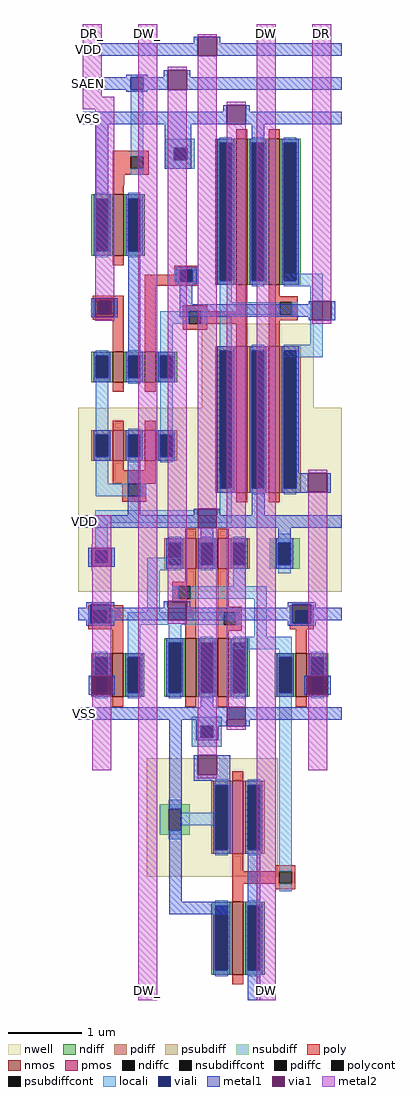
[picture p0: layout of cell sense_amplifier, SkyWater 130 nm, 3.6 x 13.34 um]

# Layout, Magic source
magic
tech sky130A
magscale 1 2
<< nwell >>
rect 306 -338 339 -130
rect 0 -425 339 -338
rect 643 -425 720 -130
rect 187 -1412 327 -1088
<< psubdiff >>
rect 237 580 319 604
rect 237 546 262 580
rect 296 546 319 580
rect 237 522 319 546
<< nsubdiff >>
rect 223 -1226 305 -1214
rect 223 -1286 247 -1226
rect 281 -1286 305 -1226
rect 223 -1298 305 -1286
<< psubdiffcont >>
rect 262 546 296 580
<< nsubdiffcont >>
rect 247 -1286 281 -1226
<< poly >>
rect 94 556 193 572
rect 94 522 143 556
rect 177 522 193 556
rect 94 506 193 522
rect 94 479 125 506
rect 262 247 328 258
rect 262 233 278 247
rect 182 213 278 233
rect 312 213 328 247
rect 182 203 328 213
rect 39 160 124 176
rect 39 126 55 160
rect 89 126 124 160
rect 39 110 124 126
rect 94 49 124 110
rect 182 49 212 203
rect 286 133 352 149
rect 432 133 462 179
rect 286 99 302 133
rect 336 99 462 133
rect 286 83 352 99
rect 432 63 462 99
rect 520 174 550 179
rect 520 158 600 174
rect 520 124 550 158
rect 584 124 600 158
rect 520 109 600 124
rect 520 63 550 109
rect 94 -338 212 -302
rect 120 -372 136 -338
rect 170 -372 186 -338
rect 120 -388 186 -372
rect 421 -1397 451 -1376
rect 538 -1397 593 -1381
rect 421 -1431 549 -1397
rect 583 -1431 593 -1397
rect 421 -1454 451 -1431
rect 538 -1447 593 -1431
<< polycont >>
rect 143 522 177 556
rect 278 213 312 247
rect 55 126 89 160
rect 302 99 336 133
rect 550 124 584 158
rect 136 -372 170 -338
rect 549 -1431 583 -1397
<< locali >>
rect 143 556 177 739
rect 237 580 319 604
rect 237 546 262 580
rect 296 546 319 580
rect 237 522 319 546
rect 143 506 177 522
rect 262 213 278 247
rect 312 213 328 247
rect 562 201 668 235
rect 39 126 55 160
rect 89 126 105 160
rect 386 158 420 201
rect 224 99 302 133
rect 336 99 352 133
rect 386 124 550 158
rect 584 124 600 158
rect 224 27 258 99
rect 386 41 420 124
rect 634 42 668 201
rect 562 8 668 42
rect 48 -188 82 -65
rect 224 -188 258 -65
rect 48 -338 82 -280
rect 48 -372 136 -338
rect 170 -372 186 -338
rect 386 -411 420 -367
rect 46 -445 420 -411
rect 46 -522 80 -445
rect 247 -1226 281 -1202
rect 281 -1272 375 -1238
rect 247 -1310 281 -1286
rect 549 -1397 583 -925
rect 549 -1452 583 -1431
<< viali >>
rect 143 739 177 773
rect 262 546 296 580
rect 278 213 312 247
rect 55 126 89 160
rect 46 -556 80 -522
<< metal1 >>
rect 316 865 326 883
rect 12 831 326 865
rect 378 865 388 883
rect 378 831 720 865
rect 131 773 189 779
rect 234 773 244 791
rect 12 739 143 773
rect 177 739 244 773
rect 296 773 306 791
rect 296 739 720 773
rect 131 733 189 739
rect 396 678 406 696
rect 12 644 406 678
rect 458 678 468 696
rect 458 644 720 678
rect 48 453 82 644
rect 237 580 309 644
rect 474 605 508 644
rect 237 546 262 580
rect 296 546 309 580
rect 237 522 309 546
rect 36 117 46 169
rect 98 117 108 169
rect 136 23 170 285
rect 266 247 324 253
rect 266 213 278 247
rect 312 213 324 247
rect 266 207 324 213
rect 278 152 312 207
rect 630 152 640 161
rect 278 118 640 152
rect 630 109 640 118
rect 692 109 702 161
rect 135 -459 170 -276
rect 380 -363 390 -310
rect 602 -362 628 -310
rect 680 -362 690 -310
rect 602 -363 690 -362
rect 316 -459 326 -407
rect 378 -459 388 -407
rect 474 -459 509 -363
rect 27 -565 37 -513
rect 90 -565 100 -513
rect 234 -711 244 -659
rect 296 -711 306 -659
rect 396 -983 406 -949
rect 249 -1480 283 -983
rect 382 -1001 406 -983
rect 458 -1001 468 -949
rect 316 -1133 326 -1080
rect 378 -1133 415 -1080
rect 316 -1150 415 -1133
rect 463 -1480 497 -1338
rect 249 -1514 409 -1480
rect 463 -1749 497 -1680
<< via1 >>
rect 326 831 378 883
rect 244 739 296 791
rect 406 644 458 696
rect 46 160 98 169
rect 46 126 55 160
rect 55 126 89 160
rect 89 126 98 160
rect 46 117 98 126
rect 640 109 692 161
rect 628 -362 680 -310
rect 326 -459 378 -407
rect 37 -522 90 -513
rect 37 -556 46 -522
rect 46 -556 80 -522
rect 80 -556 90 -522
rect 37 -565 90 -556
rect 244 -711 296 -659
rect 406 -1001 458 -949
rect 326 -1133 378 -1080
<< metal2 >>
rect 12 719 64 917
rect 12 685 98 719
rect 46 169 98 685
rect 46 107 98 117
rect 37 -513 90 -503
rect 37 -575 90 -565
rect 164 -1749 216 917
rect 326 883 378 890
rect 244 791 296 801
rect 244 -659 296 739
rect 244 -721 296 -711
rect 326 -407 378 831
rect 326 -1080 378 -459
rect 406 696 458 706
rect 406 -949 458 644
rect 406 -1011 458 -1001
rect 326 -1143 378 -1133
rect 488 -1749 540 918
rect 640 161 692 917
rect 640 99 692 109
rect 628 -310 680 -300
rect 628 -425 680 -362
use bit_cell  bit_cell_0 ~/Desktop/FabRAM/FE/sram130/bit_cell
transform 1 0 0 0 1 -1121
box 0 0 720 696
use sky130_fd_pr__nfet_01v8_A6LSUL  m1
transform -1 0 109 0 1 -19
box -73 -68 73 68
use sky130_fd_pr__nfet_01v8_A6LSUL  m2
transform 1 0 197 0 1 -19
box -73 -68 73 68
use sky130_fd_pr__pfet_01v8_4Y88KP#0  m3
transform -1 0 109 0 1 -234
box -109 -104 109 104
use sky130_fd_pr__pfet_01v8_4Y88KP#0  m4
transform 1 0 197 0 1 -234
box -109 -104 109 104
use sky130_fd_pr__pfet_01v8_5YUHNA  m5
transform -1 0 447 0 1 -163
box -109 -262 109 262
use sky130_fd_pr__nfet_01v8_JB3UY8  m6
transform -1 0 447 0 1 405
box -73 -226 73 226
use sky130_fd_pr__pfet_01v8_5YUHNA  m7
transform 1 0 535 0 1 -163
box -109 -262 109 262
use sky130_fd_pr__nfet_01v8_JB3UY8  m8
transform 1 0 535 0 1 405
box -73 -226 73 226
use sky130_fd_pr__nfet_01v8_VJ5ZNR  m9
transform 1 0 109 0 1 369
box -73 -110 73 110
use sky130_fd_pr__nfet_01v8_L8ATA9  m10
transform 1 0 436 0 1 -1580
box -73 -126 73 126
use sky130_fd_pr__pfet_01v8_5SMHNA  m11
transform 1 0 436 0 1 -1250
box -109 -162 109 162
<< labels >>
rlabel metal2 12 865 64 917 0 DR_
rlabel metal2 164 865 216 917 0 DW_
rlabel metal2 488 866 540 918 0 DW
rlabel metal2 640 865 692 917 0 DR
rlabel metal1 12 831 46 865 0 VDD
rlabel metal1 12 739 46 773 0 SAEN
rlabel metal1 12 644 46 678 0 VSS
rlabel space 0 -459 34 -425 0 VDD
rlabel space 0 -983 34 -949 0 VSS
rlabel metal2 164 -1749 216 -1697 0 DW_
rlabel metal2 488 -1749 540 -1697 0 DW
rlabel metal1 463 -1749 497 -1715 0 SB
<< end >>

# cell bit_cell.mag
magic
tech sky130A
magscale 1 2
<< nwell >>
rect 0 488 199 696
rect 505 488 720 696
<< psubdiff >>
rect 310 122 392 146
rect 310 88 335 122
rect 369 88 392 122
rect 310 64 392 88
<< nsubdiff >>
rect 523 622 605 634
rect 523 562 547 622
rect 581 562 605 622
rect 523 550 605 562
<< psubdiffcont >>
rect 335 88 369 122
<< nsubdiffcont >>
rect 547 562 581 622
<< poly >>
rect 293 515 323 524
rect 257 503 323 515
rect 257 469 273 503
rect 307 469 323 503
rect 257 458 323 469
rect 27 435 123 451
rect 27 401 43 435
rect 77 401 123 435
rect 27 385 123 401
rect 293 386 323 458
rect 381 447 411 524
rect 381 432 447 447
rect 381 398 397 432
rect 431 398 447 432
rect 93 346 123 385
rect 381 381 447 398
rect 578 435 644 451
rect 578 401 594 435
rect 628 401 644 435
rect 578 385 644 401
rect 595 346 625 385
<< polycont >>
rect 273 469 307 503
rect 43 401 77 435
rect 397 398 431 432
rect 594 401 628 435
<< locali >>
rect 547 622 581 646
rect 189 546 281 580
rect 27 401 34 435
rect 86 401 93 435
rect 189 432 223 546
rect 423 503 457 547
rect 547 538 581 562
rect 257 469 273 503
rect 307 469 515 503
rect 135 398 397 432
rect 431 398 447 432
rect 135 324 169 398
rect 247 364 281 398
rect 481 364 515 469
rect 578 401 585 435
rect 637 401 644 435
rect 423 330 583 364
rect 549 324 583 330
rect 310 122 392 146
rect 310 88 335 122
rect 369 88 392 122
rect 310 64 392 88
<< viali >>
rect 547 562 581 622
rect 34 435 86 453
rect 34 401 43 435
rect 43 401 77 435
rect 77 401 86 435
rect 585 435 637 453
rect 585 401 594 435
rect 594 401 628 435
rect 628 401 637 435
rect 335 88 369 122
<< metal1 >>
rect 0 662 720 696
rect 335 634 369 662
rect 547 634 581 662
rect 541 622 587 634
rect 541 562 547 622
rect 581 562 587 622
rect 541 550 587 562
rect 22 453 98 459
rect 22 444 34 453
rect 0 410 34 444
rect 22 401 34 410
rect 86 444 98 453
rect 573 453 649 459
rect 573 444 585 453
rect 86 410 585 444
rect 86 401 98 410
rect 22 395 98 401
rect 573 401 585 410
rect 637 444 649 453
rect 637 410 720 444
rect 637 401 649 410
rect 573 395 649 401
rect 28 206 38 258
rect 90 206 100 258
rect 618 206 628 258
rect 680 206 690 258
rect 335 172 369 200
rect 0 138 720 172
rect 323 122 382 138
rect 323 88 335 122
rect 369 88 382 122
rect 323 83 382 88
rect 323 82 381 83
<< via1 >>
rect 38 206 90 258
rect 628 206 680 258
<< metal2 >>
rect 38 258 90 696
rect 38 0 90 206
rect 628 258 680 696
rect 628 0 680 206
use sky130_fd_pr__pfet_01v8_4Y88KP  m1
transform -1 0 308 0 1 592
box -109 -104 109 104
use sky130_fd_pr__pfet_01v8_4Y88KP  m2
transform 1 0 396 0 1 592
box -109 -104 109 104
use sky130_fd_pr__nfet_01v8_BBXUYH  m3
transform -1 0 308 0 1 280
box -73 -106 73 106
use sky130_fd_pr__nfet_01v8_BBXUYH  m4
transform 1 0 396 0 1 280
box -73 -106 73 106
use sky130_fd_pr__nfet_01v8_FB3UY2  m6
transform 1 0 610 0 1 260
box -73 -86 73 86
use sky130_fd_pr__nfet_01v8_FB3UY2  sky130_fd_pr__nfet_01v8_FB3UY2_0
transform 1 0 108 0 1 260
box -73 -86 73 86
<< labels >>
rlabel metal2 628 0 680 47 0 BL_
rlabel metal1 0 138 38 172 0 VSS
rlabel metal1 0 410 22 444 0 WL
rlabel metal1 0 662 38 696 0 VDD
rlabel metal2 38 0 90 47 0 BL
<< end >>

# cell sky130_fd_pr__nfet_01v8_A6LSUL: kit device sky130_fd_pr__nfet_01v8, w 0.420 l 0.150 m 1 nf 1 diffcov 100 polycov 100 guard 0 glc 0 grc 0 gtc 0 gbc 0 tbcov 100 rlcov 100 topc 0 botc 0 poverlap 0 doverlap 0 lmin 0.15 wmin 0.42 compatible {sky130_fd_pr__nfet_01v8 sky130_fd_pr__nfet_01v8_lvt sky130_fd_bs_flash__special_sonosfet_star sky130_fd_pr__nfet_g5v0d10v5 sky130_fd_pr__nfet_05v0_nvt sky130_fd_pr__nfet_03v3_nvt} full_metal 0 viasrc 100 viadrn 100 viagate 100 viagb 0 viagr 0 viagl 0 viagt 0

# cell sky130_fd_pr__pfet_01v8_4Y88KP#0: kit device sky130_fd_pr__pfet_01v8, w 0.42 l 0.15 m 1 nf 1 diffcov 100 polycov 100 guard 0 glc 0 grc 0 gtc 0 gbc 0 tbcov 100 rlcov 100 topc 0 botc 0 poverlap 0 doverlap 0 lmin 0.15 wmin 0.42 compatible {sky130_fd_pr__pfet_01v8 sky130_fd_pr__pfet_01v8_lvt sky130_fd_pr__pfet_01v8_hvt sky130_fd_pr__pfet_g5v0d10v5} full_metal 0 viasrc 100 viadrn 100 viagate 100 viagb 0 viagr 0 viagl 0 viagt 0

# cell sky130_fd_pr__pfet_01v8_5YUHNA: kit device sky130_fd_pr__pfet_01v8, w 2 l 0.15 m 1 nf 1 diffcov 100 polycov 100 guard 0 glc 0 grc 0 gtc 0 gbc 0 tbcov 100 rlcov 100 topc 0 botc 0 poverlap 0 doverlap 0 lmin 0.15 wmin 0.42 compatible {sky130_fd_pr__pfet_01v8 sky130_fd_pr__pfet_01v8_lvt sky130_fd_pr__pfet_01v8_hvt sky130_fd_pr__pfet_g5v0d10v5} full_metal 0 viasrc 100 viadrn 100 viagate 100 viagb 0 viagr 0 viagl 0 viagt 0

# cell sky130_fd_pr__nfet_01v8_JB3UY8: kit device sky130_fd_pr__nfet_01v8, w 2 l 0.150 m 1 nf 1 diffcov 100 polycov 100 guard 0 glc 0 grc 0 gtc 0 gbc 0 tbcov 100 rlcov 100 topc 0 botc 0 poverlap 0 doverlap 0 lmin 0.15 wmin 0.42 compatible {sky130_fd_pr__nfet_01v8 sky130_fd_pr__nfet_01v8_lvt sky130_fd_bs_flash__special_sonosfet_star sky130_fd_pr__nfet_g5v0d10v5 sky130_fd_pr__nfet_05v0_nvt sky130_fd_pr__nfet_03v3_nvt} full_metal 0 viasrc 100 viadrn 100 viagate 100 viagb 0 viagr 0 viagl 0 viagt 0

# cell sky130_fd_pr__nfet_01v8_VJ5ZNR: kit device sky130_fd_pr__nfet_01v8, w 0.84 l 0.150 m 1 nf 1 diffcov 100 polycov 100 guard 0 glc 0 grc 0 gtc 0 gbc 0 tbcov 100 rlcov 100 topc 0 botc 0 poverlap 0 doverlap 0 lmin 0.15 wmin 0.42 compatible {sky130_fd_pr__nfet_01v8 sky130_fd_pr__nfet_01v8_lvt sky130_fd_bs_flash__special_sonosfet_star sky130_fd_pr__nfet_g5v0d10v5 sky130_fd_pr__nfet_05v0_nvt sky130_fd_pr__nfet_03v3_nvt} full_metal 0 viasrc 100 viadrn 100 viagate 100 viagb 0 viagr 0 viagl 0 viagt 0

# cell sky130_fd_pr__nfet_01v8_L8ATA9: kit device sky130_fd_pr__nfet_01v8, w 1 l 0.150 m 1 nf 1 diffcov 100 polycov 100 guard 0 glc 0 grc 0 gtc 0 gbc 0 tbcov 100 rlcov 100 topc 0 botc 0 poverlap 0 doverlap 0 lmin 0.15 wmin 0.42 compatible {sky130_fd_pr__nfet_01v8 sky130_fd_pr__nfet_01v8_lvt sky130_fd_bs_flash__special_sonosfet_star sky130_fd_pr__nfet_g5v0d10v5 sky130_fd_pr__nfet_05v0_nvt sky130_fd_pr__nfet_03v3_nvt} full_metal 0 viasrc 100 viadrn 100 viagate 100 viagb 0 viagr 0 viagl 0 viagt 0

# cell sky130_fd_pr__pfet_01v8_5SMHNA: kit device sky130_fd_pr__pfet_01v8, w 1 l 0.15 m 1 nf 1 diffcov 100 polycov 100 guard 0 glc 0 grc 0 gtc 0 gbc 0 tbcov 100 rlcov 100 topc 0 botc 0 poverlap 0 doverlap 0 lmin 0.15 wmin 0.42 compatible {sky130_fd_pr__pfet_01v8 sky130_fd_pr__pfet_01v8_lvt sky130_fd_pr__pfet_01v8_hvt sky130_fd_pr__pfet_g5v0d10v5} full_metal 0 viasrc 100 viadrn 100 viagate 100 viagb 0 viagr 0 viagl 0 viagt 0

# cell sky130_fd_pr__pfet_01v8_4Y88KP: kit device sky130_fd_pr__pfet_01v8, w 0.42 l 0.15 m 1 nf 1 diffcov 100 polycov 100 guard 0 glc 0 grc 0 gtc 0 gbc 0 tbcov 100 rlcov 100 topc 0 botc 0 poverlap 0 doverlap 0 lmin 0.15 wmin 0.42 compatible {sky130_fd_pr__pfet_01v8 sky130_fd_pr__pfet_01v8_lvt sky130_fd_pr__pfet_01v8_hvt sky130_fd_pr__pfet_g5v0d10v5} full_metal 0 viasrc 100 viadrn 100 viagate 100 viagb 0 viagr 0 viagl 0 viagt 0

# cell sky130_fd_pr__nfet_01v8_BBXUYH: kit device sky130_fd_pr__nfet_01v8, w 0.8 l 0.150 m 1 nf 1 diffcov 100 polycov 100 guard 0 glc 0 grc 0 gtc 0 gbc 0 tbcov 100 rlcov 100 topc 0 botc 0 poverlap 0 doverlap 0 lmin 0.15 wmin 0.42 compatible {sky130_fd_pr__nfet_01v8 sky130_fd_pr__nfet_01v8_lvt sky130_fd_bs_flash__special_sonosfet_star sky130_fd_pr__nfet_g5v0d10v5 sky130_fd_pr__nfet_05v0_nvt sky130_fd_pr__nfet_03v3_nvt} full_metal 0 viasrc 100 viadrn 100 viagate 100 viagb 0 viagr 0 viagl 0 viagt 0

# cell sky130_fd_pr__nfet_01v8_FB3UY2: kit device sky130_fd_pr__nfet_01v8, w 0.6 l 0.150 m 1 nf 1 diffcov 100 polycov 100 guard 0 glc 0 grc 0 gtc 0 gbc 0 tbcov 100 rlcov 100 topc 0 botc 0 poverlap 0 doverlap 0 lmin 0.15 wmin 0.42 compatible {sky130_fd_pr__nfet_01v8 sky130_fd_pr__nfet_01v8_lvt sky130_fd_bs_flash__special_sonosfet_star sky130_fd_pr__nfet_g5v0d10v5 sky130_fd_pr__nfet_05v0_nvt sky130_fd_pr__nfet_03v3_nvt} full_metal 0 viasrc 100 viadrn 100 viagate 100 viagb 0 viagr 0 viagl 0 viagt 0
